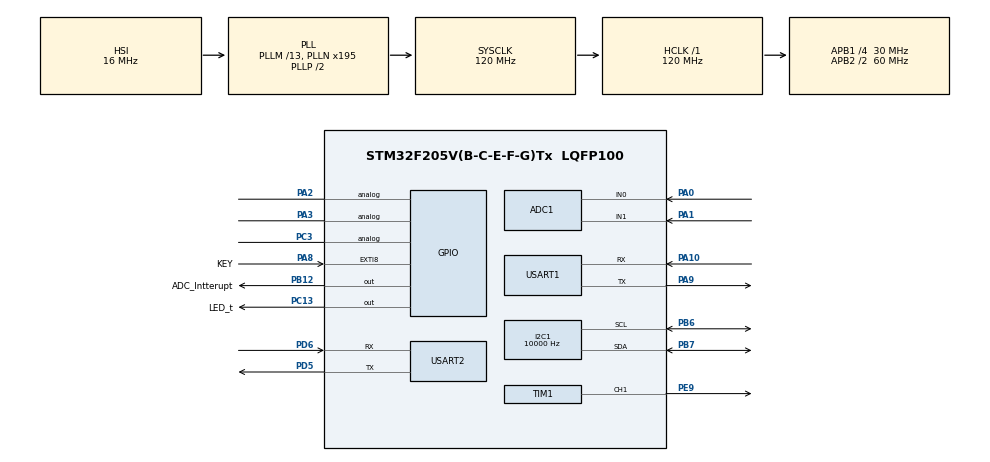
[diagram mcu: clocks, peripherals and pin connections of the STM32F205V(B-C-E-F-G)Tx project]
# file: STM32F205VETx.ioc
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ADC1.Channel-0\#ChannelRegularConversion=ADC_CHANNEL_0
ADC1.Channel-1\#ChannelRegularConversion=ADC_CHANNEL_1
ADC1.Channel-2\#ChannelRegularConversion=ADC_CHANNEL_TEMPSENSOR
ADC1.Channel-3\#ChannelRegularConversion=ADC_CHANNEL_VREFINT
ADC1.ClockPrescaler=ADC_CLOCK_SYNC_PCLK_DIV8
ADC1.ContinuousConvMode=DISABLE
ADC1.DMAContinuousRequests=ENABLE
ADC1.DiscontinuousConvMode=DISABLE
ADC1.ExternalTrigConv=ADC_EXTERNALTRIGCONV_T1_CC3
ADC1.InjNumberOfConversion=0
ADC1.NbrOfConversion=4
ADC1.NbrOfConversionFlag=1
ADC1.Rank-0\#ChannelRegularConversion=1
ADC1.Rank-1\#ChannelRegularConversion=2
ADC1.Rank-2\#ChannelRegularConversion=3
ADC1.Rank-3\#ChannelRegularConversion=4
ADC1.SamplingTime-0\#ChannelRegularConversion=ADC_SAMPLETIME_56CYCLES
ADC1.SamplingTime-1\#ChannelRegularConversion=ADC_SAMPLETIME_56CYCLES
ADC1.SamplingTime-2\#ChannelRegularConversion=ADC_SAMPLETIME_56CYCLES
ADC1.SamplingTime-3\#ChannelRegularConversion=ADC_SAMPLETIME_56CYCLES
ADC1.ScanConvMode=ENABLE
ADC1.master=1
Dma.ADC1.1.Direction=DMA_PERIPH_TO_MEMORY
Dma.ADC1.1.FIFOMode=DMA_FIFOMODE_DISABLE
Dma.ADC1.1.Instance=DMA2_Stream0
Dma.ADC1.1.MemDataAlignment=DMA_MDATAALIGN_WORD
Dma.ADC1.1.MemInc=DMA_MINC_ENABLE
Dma.ADC1.1.Mode=DMA_CIRCULAR
Dma.ADC1.1.PeriphDataAlignment=DMA_PDATAALIGN_WORD
Dma.ADC1.1.PeriphInc=DMA_PINC_DISABLE
Dma.ADC1.1.Priority=DMA_PRIORITY_LOW
Dma.Request0=USART1_RX
Dma.Request1=ADC1
Dma.Request2=USART1_TX
Dma.Request3=USART2_RX
Dma.Request4=USART2_TX
Dma.USART1_RX.0.Direction=DMA_PERIPH_TO_MEMORY
Dma.USART1_RX.0.FIFOMode=DMA_FIFOMODE_DISABLE
Dma.USART1_RX.0.Instance=DMA2_Stream2
Dma.USART1_RX.0.MemDataAlignment=DMA_MDATAALIGN_BYTE
Dma.USART1_RX.0.MemInc=DMA_MINC_ENABLE
Dma.USART1_RX.0.Mode=DMA_NORMAL
Dma.USART1_RX.0.PeriphDataAlignment=DMA_PDATAALIGN_BYTE
Dma.USART1_RX.0.PeriphInc=DMA_PINC_DISABLE
Dma.USART1_RX.0.Priority=DMA_PRIORITY_LOW
Dma.USART1_TX.2.Direction=DMA_MEMORY_TO_PERIPH
Dma.USART1_TX.2.FIFOMode=DMA_FIFOMODE_DISABLE
Dma.USART1_TX.2.Instance=DMA2_Stream7
Dma.USART1_TX.2.MemDataAlignment=DMA_MDATAALIGN_BYTE
Dma.USART1_TX.2.MemInc=DMA_MINC_ENABLE
Dma.USART1_TX.2.Mode=DMA_NORMAL
Dma.USART1_TX.2.PeriphDataAlignment=DMA_PDATAALIGN_BYTE
Dma.USART1_TX.2.PeriphInc=DMA_PINC_DISABLE
Dma.USART1_TX.2.Priority=DMA_PRIORITY_LOW
Dma.USART2_RX.3.Direction=DMA_PERIPH_TO_MEMORY
Dma.USART2_RX.3.FIFOMode=DMA_FIFOMODE_DISABLE
Dma.USART2_RX.3.Instance=DMA1_Stream5
Dma.USART2_RX.3.MemDataAlignment=DMA_MDATAALIGN_BYTE
Dma.USART2_RX.3.MemInc=DMA_MINC_ENABLE
Dma.USART2_RX.3.Mode=DMA_NORMAL
Dma.USART2_RX.3.PeriphDataAlignment=DMA_PDATAALIGN_BYTE
Dma.USART2_RX.3.PeriphInc=DMA_PINC_DISABLE
Dma.USART2_RX.3.Priority=DMA_PRIORITY_LOW
Dma.USART2_TX.4.Direction=DMA_MEMORY_TO_PERIPH
Dma.USART2_TX.4.FIFOMode=DMA_FIFOMODE_DISABLE
Dma.USART2_TX.4.Instance=DMA1_Stream6
Dma.USART2_TX.4.MemDataAlignment=DMA_MDATAALIGN_BYTE
Dma.USART2_TX.4.MemInc=DMA_MINC_ENABLE
Dma.USART2_TX.4.Mode=DMA_NORMAL
Dma.USART2_TX.4.PeriphDataAlignment=DMA_PDATAALIGN_BYTE
Dma.USART2_TX.4.PeriphInc=DMA_PINC_DISABLE
Dma.USART2_TX.4.Priority=DMA_PRIORITY_LOW
FREERTOS.Queues01=CmdQueue,16,uint16_t,0,Dynamic,NULL,NULL
FREERTOS.Tasks01=LEDTask,0,128,StartLEDTask,Default,NULL,Dynamic,NULL,NULL;UartSendTask,0,128,StartUartSendTask,Default,NULL,Dynamic,NULL,NULL;KeyTask,1,128,Key_Task,Default,NULL,Dynamic,NULL,NULL;UartReceiveTask,2,128,StartUartReceiveTask,Default,NULL,Dynamic,NULL,NULL;GetADC,0,128,StartGetADC,Default,NULL,Dynamic,NULL,NULL;PowerControl,2,128,StartPowerControl,Default,NULL,Dynamic,NULL,NULL
I2C1.ClockSpeed=10000
Mcu.Family=STM32F2
Mcu.Name=STM32F205V(B-C-E-F-G)Tx
Mcu.Package=LQFP100
NVIC.ADC_IRQn=true\:5\:0\:true\:false\:true\:true\:true\:true\:true
NVIC.DMA1_Stream5_IRQn=true\:5\:0\:false\:false\:true\:true\:false\:true\:true
NVIC.DMA1_Stream6_IRQn=true\:5\:0\:false\:false\:true\:true\:false\:true\:true
NVIC.DMA2_Stream0_IRQn=true\:5\:0\:false\:false\:true\:true\:false\:true\:true
NVIC.DMA2_Stream2_IRQn=true\:5\:0\:false\:false\:true\:true\:false\:true\:true
NVIC.DMA2_Stream7_IRQn=true\:5\:0\:false\:false\:true\:true\:false\:true\:true
NVIC.EXTI9_5_IRQn=true\:5\:0\:false\:false\:true\:true\:true\:true\:true
NVIC.PriorityGroup=NVIC_PRIORITYGROUP_4
NVIC.TIM2_IRQn=true\:15\:0\:false\:false\:true\:false\:false\:true\:true
NVIC.TimeBase=TIM2_IRQn
NVIC.TimeBaseIP=TIM2
NVIC.USART1_IRQn=true\:5\:0\:false\:false\:true\:true\:true\:true\:true
NVIC.USART2_IRQn=true\:5\:0\:false\:false\:true\:true\:true\:true\:true
PA0-WKUP.Signal=SharedAnalog_PA0
PA1.Signal=SharedAnalog_PA1
PA10.Mode=Asynchronous
PA10.Signal=USART1_RX
PA13.Mode=Serial_Wire
PA13.Signal=SYS_JTMS-SWDIO
PA14.Mode=Serial_Wire
PA14.Signal=SYS_JTCK-SWCLK
PA2.Signal=GPIO_Analog
PA3.Signal=GPIO_Analog
PA8.GPIO_Label=KEY
PA8.GPIO_ModeDefaultEXTI=GPIO_MODE_IT_RISING_FALLING
PA8.GPIO_PuPd=GPIO_PULLUP
PA8.Signal=GPXTI8
PA9.Mode=Asynchronous
PA9.Signal=USART1_TX
PB12.GPIO_Label=ADC_Intterupt
PB12.GPIO_PuPd=GPIO_PULLDOWN
PB12.GPIO_Speed=GPIO_SPEED_FREQ_MEDIUM
PB12.Signal=GPIO_Output
PB6.GPIO_Pu=GPIO_PULLUP
PB6.Mode=I2C
PB6.Signal=I2C1_SCL
PB7.GPIO_Pu=GPIO_PULLUP
PB7.Mode=I2C
PB7.Signal=I2C1_SDA
PC13.GPIO_Label=LED_t
PC13.GPIO_ModeDefaultOutputPP=GPIO_MODE_OUTPUT_PP
PC13.GPIO_PuPd=GPIO_PULLUP
PC13.Signal=GPIO_Output
PC14-OSC32_IN.Mode=LSE-External-Oscillator
PC14-OSC32_IN.Signal=RCC_OSC32_IN
PC15-OSC32_OUT.Mode=LSE-External-Oscillator
PC15-OSC32_OUT.Signal=RCC_OSC32_OUT
PC3.Signal=GPIO_Analog
PD5.Mode=Asynchronous
PD5.Signal=USART2_TX
PD6.Mode=Asynchronous
PD6.Signal=USART2_RX
PE9.Signal=S_TIM1_CH1
PH0-OSC_IN.Mode=HSE-External-Oscillator
PH0-OSC_IN.Signal=RCC_OSC_IN
PH1-OSC_OUT.Mode=HSE-External-Oscillator
PH1-OSC_OUT.Signal=RCC_OSC_OUT
ProjectManager.HeapSize=0x200
ProjectManager.StackSize=0x400
ProjectManager.TargetToolchain=MDK-ARM V5.27
RCC.48MHZClocksFreq_Value=60000000
RCC.AHBFreq_Value=120000000
RCC.APB1CLKDivider=RCC_HCLK_DIV4
RCC.APB1Freq_Value=30000000
RCC.APB1TimFreq_Value=60000000
RCC.APB2CLKDivider=RCC_HCLK_DIV2
RCC.APB2Freq_Value=60000000
RCC.APB2TimFreq_Value=120000000
RCC.CortexFreq_Value=120000000
RCC.HCLKFreq_Value=120000000
RCC.HSE_VALUE=8000000
RCC.HSI_VALUE=16000000
RCC.PLLM=13
RCC.PLLN=195
RCC.SYSCLKFreq_VALUE=120000000
RCC.SYSCLKSource=RCC_SYSCLKSOURCE_PLLCLK
RCC.VCOOutputFreq_Value=240000000
SH.S_TIM1_CH1.0=TIM1_CH1,PWM Generation1 CH1
SH.SharedAnalog_PA0.0=GPIO_Analog
SH.SharedAnalog_PA0.1=ADC1_IN0,IN0
SH.SharedAnalog_PA1.0=GPIO_Analog
SH.SharedAnalog_PA1.1=ADC1_IN1,IN1
TIM1.AutoReloadPreload=TIM_AUTORELOAD_PRELOAD_DISABLE
TIM1.Channel-PWM\ Generation1\ CH1=TIM_CHANNEL_1
TIM1.Channel-PWM\ Generation3\ No\ Output=TIM_CHANNEL_3
TIM1.Period=2400
TIM1.Prescaler=0
TIM1.Pulse-PWM\ Generation1\ CH1=0
TIM1.Pulse-PWM\ Generation3\ No\ Output=1200
TIM3.Period=24000
USART1.VirtualMode=VM_ASYNC
USART2.VirtualMode=VM_ASYNC
VP_ADC1_TempSens_Input.Mode=IN-TempSens
VP_ADC1_Vref_Input.Mode=IN-Vrefint
VP_FREERTOS_VS_CMSIS_V1.Mode=CMSIS_V1
VP_SYS_VS_tim2.Mode=TIM2
VP_TIM1_VS_ClockSourceINT.Mode=Internal
VP_TIM1_VS_no_output3.Mode=PWM Generation3 No Output
VP_TIM3_VS_ClockSourceINT.Mode=Internal
board=custom

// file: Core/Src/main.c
/* USER CODE BEGIN Header */
/**
  ******************************************************************************
  * @file           : main.c
  * @brief          : Main program body
  ******************************************************************************
  * @attention
  *
  * <h2><center>&copy; Copyright (c) 2022 STMicroelectronics.
  * All rights reserved.</center></h2>
  *
  * This software component is licensed by ST under Ultimate Liberty license
  * SLA0044, the "License"; You may not use this file except in compliance with
  * the License. You may obtain a copy of the License at:
  *                             www.st.com/SLA0044
  *
  ******************************************************************************
  */
/* USER CODE END Header */
#include "main.h"
#include "cmsis_os.h"
#include "adc.h"
#include "dma.h"
#include "i2c.h"
#include "tim.h"
#include "usart.h"
#include "gpio.h"

void SystemClock_Config(void);
void MX_FREERTOS_Init(void);

/* USER CODE BEGIN 0 */

SemaphoreHandle_t  xSemaphore = NULL;
static void AppObjCreate (void)
{
    xSemaphore = xSemaphoreCreateBinary();
}

/* USER CODE END 0 */

int main(void)
{

  /* MCU Configuration--------------------------------------------------------*/

  /* Reset of all peripherals, Initializes the Flash interface and the Systick. */
  HAL_Init();

  /* Configure the system clock */
  SystemClock_Config();

  /* Initialize all configured peripherals */
  MX_GPIO_Init();
  MX_DMA_Init();
  MX_USART1_UART_Init();
  MX_ADC1_Init();
  MX_USART2_UART_Init();
  MX_TIM1_Init();
  MX_I2C1_Init();
  MX_TIM3_Init();
  /* USER CODE BEGIN 2 */
    HAL_ADC_Start_DMA(&hadc1,ADC1_Buf,ADC1_CHANNEL_CNT * ADC1_Filter_Num);  //DMA 数组大小为ADC1的通道数乘以ADC1需要滤波的数据量
    HAL_TIM_PWM_Start(&htim1,TIM_CHANNEL_3);
    HAL_TIM_PWM_Start(&htim1,TIM_CHANNEL_1);

//   HAL_UART_Receive_IT(&huart1,recv_buf,1);
    HAL_UART_Receive_DMA(&huart1, UART_RX_BUF, UART_RX_LEN);  // 启动DMA接收
    __HAL_UART_ENABLE_IT(&huart1, UART_IT_IDLE);              // 使能空闲中断

//		HAL_UART_Receive_DMA(&huart2, UART_RX_BUF, UART_RX_LEN);  // 启动DMA接收
//		__HAL_UART_ENABLE_IT(&huart2, UART_IT_IDLE);              // 使能空闲中断

    AppObjCreate();
    EMLOG(LOG_DEBUG,"初始化完成");
    EMLOG(LOG_DEBUG,"%s",UART_RX_BUF);

  /* USER CODE END 2 */

  /* Call init function for freertos objects (in freertos.c) */
  MX_FREERTOS_Init();

  /* Start scheduler */
  osKernelStart();

  /* We should never get here as control is now taken by the scheduler */
  /* Infinite loop */
    while (1)
    {

    }
}

void SystemClock_Config(void)
{
  RCC_OscInitTypeDef RCC_OscInitStruct = {0};
  RCC_ClkInitTypeDef RCC_ClkInitStruct = {0};

  /** Initializes the RCC Oscillators according to the specified parameters
  * in the RCC_OscInitTypeDef structure.
  */
  RCC_OscInitStruct.OscillatorType = RCC_OSCILLATORTYPE_HSI;
  RCC_OscInitStruct.HSIState = RCC_HSI_ON;
  RCC_OscInitStruct.HSICalibrationValue = RCC_HSICALIBRATION_DEFAULT;
  RCC_OscInitStruct.PLL.PLLState = RCC_PLL_ON;
  RCC_OscInitStruct.PLL.PLLSource = RCC_PLLSOURCE_HSI;
  RCC_OscInitStruct.PLL.PLLM = 13;
  RCC_OscInitStruct.PLL.PLLN = 195;
  RCC_OscInitStruct.PLL.PLLP = RCC_PLLP_DIV2;
  RCC_OscInitStruct.PLL.PLLQ = 4;
  if (HAL_RCC_OscConfig(&RCC_OscInitStruct) != HAL_OK)
  {
    Error_Handler();
  }

  /** Initializes the CPU, AHB and APB buses clocks
  */
  RCC_ClkInitStruct.ClockType = RCC_CLOCKTYPE_HCLK|RCC_CLOCKTYPE_SYSCLK
                              |RCC_CLOCKTYPE_PCLK1|RCC_CLOCKTYPE_PCLK2;
  RCC_ClkInitStruct.SYSCLKSource = RCC_SYSCLKSOURCE_PLLCLK;
  RCC_ClkInitStruct.AHBCLKDivider = RCC_SYSCLK_DIV1;
  RCC_ClkInitStruct.APB1CLKDivider = RCC_HCLK_DIV4;
  RCC_ClkInitStruct.APB2CLKDivider = RCC_HCLK_DIV2;

  if (HAL_RCC_ClockConfig(&RCC_ClkInitStruct, FLASH_LATENCY_3) != HAL_OK)
  {
    Error_Handler();
  }
}

void HAL_TIM_PeriodElapsedCallback(TIM_HandleTypeDef *htim)
{
  if (htim->Instance == TIM2) {
    HAL_IncTick();
  }
}

void Error_Handler(void)
{
    __disable_irq();
    while (1)
    {
    }
}

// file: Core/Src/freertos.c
/* USER CODE BEGIN Header */
/**
  ******************************************************************************
  * File Name          : freertos.c
  * Description        : Code for freertos applications
  ******************************************************************************
  * @attention
  *
  * <h2><center>&copy; Copyright (c) 2022 STMicroelectronics.
  * All rights reserved.</center></h2>
  *
  * This software component is licensed by ST under Ultimate Liberty license
  * SLA0044, the "License"; You may not use this file except in compliance with
  * the License. You may obtain a copy of the License at:
  *                             www.st.com/SLA0044
  *
  ******************************************************************************
  */
/* USER CODE END Header */

#include "FreeRTOS.h"
#include "task.h"
#include "main.h"
#include "cmsis_os.h"

/* USER CODE BEGIN Includes */
#include "gpio.h"
#include "usart.h"
#include "ADC.h"
#include "string.h"
#include "tim.h"
#include "ADS1115.h"
#include "i2c.h"
/* USER CODE END Includes */

osThreadId LEDTaskHandle;
osThreadId UartSendTaskHandle;
osThreadId KeyTaskHandle;
osThreadId UartReceiveTaskHandle;
osThreadId GetADCHandle;
osThreadId PowerControlHandle;
osMessageQId CmdQueueHandle;

void StartLEDTask(void const * argument);
void StartUartSendTask(void const * argument);
void Key_Task(void const * argument);
void StartUartReceiveTask(void const * argument);
void StartGetADC(void const * argument);
void StartPowerControl(void const * argument);

void MX_FREERTOS_Init(void); /* (MISRA C 2004 rule 8.1) */

/* GetIdleTaskMemory prototype (linked to static allocation support) */
void vApplicationGetIdleTaskMemory( StaticTask_t **ppxIdleTaskTCBBuffer, StackType_t **ppxIdleTaskStackBuffer, uint32_t *pulIdleTaskStackSize );

/* USER CODE BEGIN GET_IDLE_TASK_MEMORY */
static StaticTask_t xIdleTaskTCBBuffer;
static StackType_t xIdleStack[configMINIMAL_STACK_SIZE];

void vApplicationGetIdleTaskMemory( StaticTask_t **ppxIdleTaskTCBBuffer, StackType_t **ppxIdleTaskStackBuffer, uint32_t *pulIdleTaskStackSize )
{
    *ppxIdleTaskTCBBuffer = &xIdleTaskTCBBuffer;
    *ppxIdleTaskStackBuffer = &xIdleStack[0];
    *pulIdleTaskStackSize = configMINIMAL_STACK_SIZE;
    /* place for user code */
}
/* USER CODE END GET_IDLE_TASK_MEMORY */

void MX_FREERTOS_Init(void) {

  /* Create the queue(s) */
  /* definition and creation of CmdQueue */
  osMessageQDef(CmdQueue, 16, uint16_t);
  CmdQueueHandle = osMessageCreate(osMessageQ(CmdQueue), NULL);

  /* Create the thread(s) */
  /* definition and creation of LEDTask */
  osThreadDef(LEDTask, StartLEDTask, osPriorityNormal, 0, 128);
  LEDTaskHandle = osThreadCreate(osThread(LEDTask), NULL);

  /* definition and creation of UartSendTask */
  osThreadDef(UartSendTask, StartUartSendTask, osPriorityNormal, 0, 128);
  UartSendTaskHandle = osThreadCreate(osThread(UartSendTask), NULL);

  /* definition and creation of KeyTask */
  osThreadDef(KeyTask, Key_Task, osPriorityAboveNormal, 0, 128);
  KeyTaskHandle = osThreadCreate(osThread(KeyTask), NULL);

  /* definition and creation of UartReceiveTask */
  osThreadDef(UartReceiveTask, StartUartReceiveTask, osPriorityHigh, 0, 128);
  UartReceiveTaskHandle = osThreadCreate(osThread(UartReceiveTask), NULL);

  /* definition and creation of GetADC */
  osThreadDef(GetADC, StartGetADC, osPriorityNormal, 0, 128);
  GetADCHandle = osThreadCreate(osThread(GetADC), NULL);

  /* definition and creation of PowerControl */
  osThreadDef(PowerControl, StartPowerControl, osPriorityHigh, 0, 128);
  PowerControlHandle = osThreadCreate(osThread(PowerControl), NULL);

}

void StartLEDTask(void const * argument)
{
  /* USER CODE BEGIN StartLEDTask */
    /* Infinite loop */
    for(;;)
    {
        HAL_GPIO_TogglePin(LED_t_GPIO_Port,LED_t_Pin);

        osDelay(1000);
    }
  /* USER CODE END StartLEDTask */
}

void StartUartSendTask(void const * argument)
{
  /* USER CODE BEGIN StartUartSendTask */
    //uint8_t AT_get_time[50] = "AT+UPDATETIME=1,time.windows.com,10,\"E8\",0\r\n";

    /* Infinite loop */
    for(;;)
    {
//    osDelay(1000);//等待1秒
//    osMessagePut(CmdQueueHandle, 1, 0);//发送消息1

        //HAL_UART_Transmit_DMA(&huart2, (uint8_t*)AT_get_time,  sizeof(AT_get_time));  //发送命令
//        EMLOG(LOG_DEBUG,"mode = %d  Vout_ADC = %.3f   Vout_Cal = %.3f\n",MyPower.mode,MyPower.Vout_ADC,MyPower.Vout_Cal);
//        EMLOG(LOG_DEBUG,"mode = %d  Iout_ADC = %.3f   Iout_Cal = %.3f\n",MyPower.mode,MyPower.Iout_ADC,MyPower.Iout_Cal);

        osDelay(1000);//等待1秒
//    osMessagePut(CmdQueueHandle, 2, 0);//发送消息2
    }
  /* USER CODE END StartUartSendTask */
}

void Key_Task(void const * argument)
{
  /* USER CODE BEGIN Key_Task */
    /* Infinite loop */
    for(;;)
    {
        if(KeyState == KEY_DOWN) {
            vTaskSuspend(LEDTaskHandle);
            vTaskSuspend(GetADCHandle);

            KeyState = KEY_UNKNOW;
        } else if(KeyState == KEY_UP) {
            vTaskResume(LEDTaskHandle);

            vTaskResume(GetADCHandle);
            KeyState = KEY_UNKNOW;
            // printf("Key_Task\n");
        }
        osDelay(1000);
    }
  /* USER CODE END Key_Task */
}

void StartUartReceiveTask(void const * argument)
{
  /* USER CODE BEGIN StartUartReceiveTask */
    //osEvent theEvent;//声明一个事件

    //uint32_t test = 1;
    /* Infinite loop */
    for(;;)
    {
        //	printf("tw %d\n",test);

        //test = scanf("%d",&test);
        //  EMLOG(LOG_DEBUG,"串口接收任务运行中\n");

        if(UART_RX_STA & 0X8000)
        {
            //	HAL_UART_Transmit(&huart1, UART_RX_BUF, UART_RX_STA & 0X7FFF, 100);    // 将接收到的数据发送回去

            //	EMLOG(LOG_DEBUG,"%d\n",strcmp("AT\n",(char *)UART_RX_BUF ));
            if(0 == strcmp("AT\r\n",(char *)UART_RX_BUF ))
            {
                printf("OK\n");
                EMLOG(LOG_DEBUG,"收到%s\n",UART_RX_BUF);

            }
            else if(0 == strcmp("AT+GetADC1CH0\r\n",(char *)UART_RX_BUF ))
            {
                printf("ADC1CH0 = %.3f\n",Get_ADC_Voltage(ADC1_In0_Buf,ADC1_CHANNEL_IN0));

            }
            else if(0 == strcmp("AT+GetADC1CH1\r\n",(char *)UART_RX_BUF ))
            {
                printf("ADC1CH1 = %.3f\n",Get_ADC_Voltage(ADC1_In0_Buf,ADC1_CHANNEL_IN1));

            }

            //   HAL_UART_Transmit_DMA(&huart1, (uint8_t*)UART_RX_BUF,  UART_RX_STA & 0X7FFF);  //回显

            UART_RX_STA = 0;
        }

        //	printf("Receive message %d\n",test);
        osDelay(1);

//		theEvent = osMessageGet(CmdQueueHandle, osWaitForever);
//      if(theEvent.status == osEventMessage)
//      {
//          printf("Receive message %d\n",theEvent.value.v);
//      }
    }
  /* USER CODE END StartUartReceiveTask */
}

void StartGetADC(void const * argument)
{
  /* USER CODE BEGIN StartGetADC */

    HAL_ADC_Start_DMA(&hadc1,ADC1_Buf,ADC1_CHANNEL_CNT * ADC1_Filter_Num);  //DMA 数组大小为ADC1的通道数乘以ADC1需要滤波的数据量
    HAL_TIM_PWM_Start(&htim1,TIM_CHANNEL_3);
    ADS1115_UserConfig_SingleConver(&ADS1115_ADDR_GND,ADS1115_ADDRESS_GND);
	  ADS1115_UserConfig_SingleConver(&ADS1115_ADDR_VDD,ADS1115_ADDRESS_VDD);
///	Continu
	   ADS1115_UserConfig_SingleConver(&ADS1115_ADDR_GND,ADS1115_ADDRESS_GND);
	  ADS1115_UserConfig_SingleConver(&ADS1115_ADDR_VDD,ADS1115_ADDRESS_VDD);

	//uint8_t i = 0;

    /* Infinite loop */
    for(;;)
    {
//       printf("ADC1 CH0 vol = %.3f  \n",Get_ADC_Voltage(ADC1_In0_Buf,ADC1_CHANNEL_IN0));   //单片机内部ADC ch0
//       printf("ADC1 CH1 vol = %.3f  \n",Get_ADC_Voltage(ADC1_In1_Buf,ADC1_CHANNEL_IN1));   //单片机内部ADC ch1

//

//						ADS1115_ScanChannel(&ADS1115_ADDR_GND,ADS1115_CHANNEL2);
//      ADS1115_GetVoltage(&ADS1115_ADDR_GND);
//		//	ADS1115_RefreshAllChannel(&ADS1115_ADDR_GND);
//			printf("ADS1115 GND CH %d vol = %.3f  \n",ADS1115_ADDR_GND.CHANNEL,ADS1115_ADDR_GND.ADS1115_Vol[ADS1115_ADDR_GND.CHANNEL]);
//				ADS1115_ScanChannel(&ADS1115_ADDR_GND,ADS1115_CHANNEL3);
//      ADS1115_GetVoltage(&ADS1115_ADDR_GND);
//		//	ADS1115_RefreshAllChannel(&ADS1115_ADDR_GND);
//	//		printf("ADS1115 GND state %d\n",HAL_I2C_IsDeviceReady (&hi2c1,ADS1115_ADDR_GND.ADDRESS>>2, 10,10));
//			printf("ADS1115 GND CH %d vol = %.3f  \n",ADS1115_ADDR_GND.CHANNEL,ADS1115_ADDR_GND.ADS1115_Vol[ADS1115_ADDR_GND.CHANNEL]);
//
//

		//	printf("ADS1115 VDD state %d",HAL_I2C_IsDeviceReady (&hi2c1,ADS1115_ADDR_VDD.ADDRESS>>2, 10,10));
	//		ADS1115_ScanChannel(&ADS1115_ADDR_VDD,ADS1115_Differ_23);
      ADS1115_GetVoltage(&ADS1115_ADDR_VDD,ADS1115_Differ_23);
		//ADS1115_RefreshAllChannel(&ADS1115_ADDR_VDD);

      ADS1115_GetVoltage(&ADS1115_ADDR_GND,ADS1115_Differ_01);
			//ADS1115_RefreshAllChannel(&ADS1115_ADDR_GND);
			printf("ADS1115 GND CH %d vol = %.3f  \n",ADS1115_ADDR_GND.CHANNEL,ADS1115_ADDR_GND.ADS1115_Vol[ADS1115_ADDR_GND.CHANNEL]);

      ADS1115_GetVoltage(&ADS1115_ADDR_VDD,ADS1115_ADDR_VDD.CHANNEL);
			ADS1115_RefreshAllChannel(&ADS1115_ADDR_VDD);

	    printf("ADS1115 VDD CH %d vol = %.3f  \n",ADS1115_ADDR_VDD.CHANNEL,ADS1115_ADDR_VDD.ADS1115_Vol[ADS1115_ADDR_VDD.CHANNEL]);

      //  osDelay(50);

			ADS1115_ScanChannel(&ADS1115_ADDR_GND,ADS1115_Differ_23);
      ADS1115_GetVoltage(&ADS1115_ADDR_GND,ADS1115_Differ_23);
		//	ADS1115_RefreshAllChannel(&ADS1115_ADDR_GND);
			printf("ADS1115 GND CH %d vol = %.3f  \n",ADS1115_ADDR_GND.CHANNEL,ADS1115_ADDR_GND.ADS1115_Vol[ADS1115_ADDR_GND.CHANNEL]);
		osDelay(50);
    }
  /* USER CODE END StartGetADC */
}

void StartPowerControl(void const * argument)
{
  /* USER CODE BEGIN StartPowerControl */
    double CONSTANT_Vol_Set = 15000,CONSTANT_Cur_Set = 2000;    //稳压模式22000mV  恒流模式2000mA

    Pid_Init();
    Power_Init(CONSTANT_Vol,CONSTANT_Vol_Set);
    HAL_TIM_PWM_Start(&htim1,TIM_CHANNEL_1);
    /* Infinite loop */
    for(;;)
    {

        MyPower.Vout_ADC = Get_ADC_Voltage(ADC1_In0_Buf,ADC1_CHANNEL_IN0);    //读取电压采样ADC通道电压
        MyPower.Iout_ADC = Get_ADC_Voltage(ADC1_In0_Buf,ADC1_CHANNEL_IN1);    //读取电流采样ADC通道电压

        MyPower.Vout_Cal = MyPower.ADC2Vout_K * MyPower.Vout_ADC  + MyPower.ADC2Vout_B;  //ADC电压转换为实际电压  mV

        MyPower.Iout_Cal = MyPower.ADC2Iout_K * MyPower.Iout_ADC  + MyPower.ADC2Iout_B;  //ADC电压转换为实际电流  mA

        if( MyPower.Vout_Cal < CONSTANT_Vol_Set ) //  小于设置最大电压就恒流
        {
            printf("恒流\n");
            MyPower.mode = CONSTANT_Cur;
            MyPower.Iout_Set = CONSTANT_Cur_Set;
            Control(MyPower.mode, MyPower.status, MyPower.Iout_Set);    //恒流

        }
        else    // 测量电压大于最大设置最大电压就恒压
        {
            printf("恒压\n");
            MyPower.mode = CONSTANT_Vol;
            MyPower.Vout_Set = CONSTANT_Vol_Set;
            Control(MyPower.mode, MyPower.status, MyPower.Vout_Set);    //恒压
        }

        osDelay(1000);     //pid控制间隔时间 单位为ms    调试时时间间隔可以调长
    }
  /* USER CODE END StartPowerControl */
}
